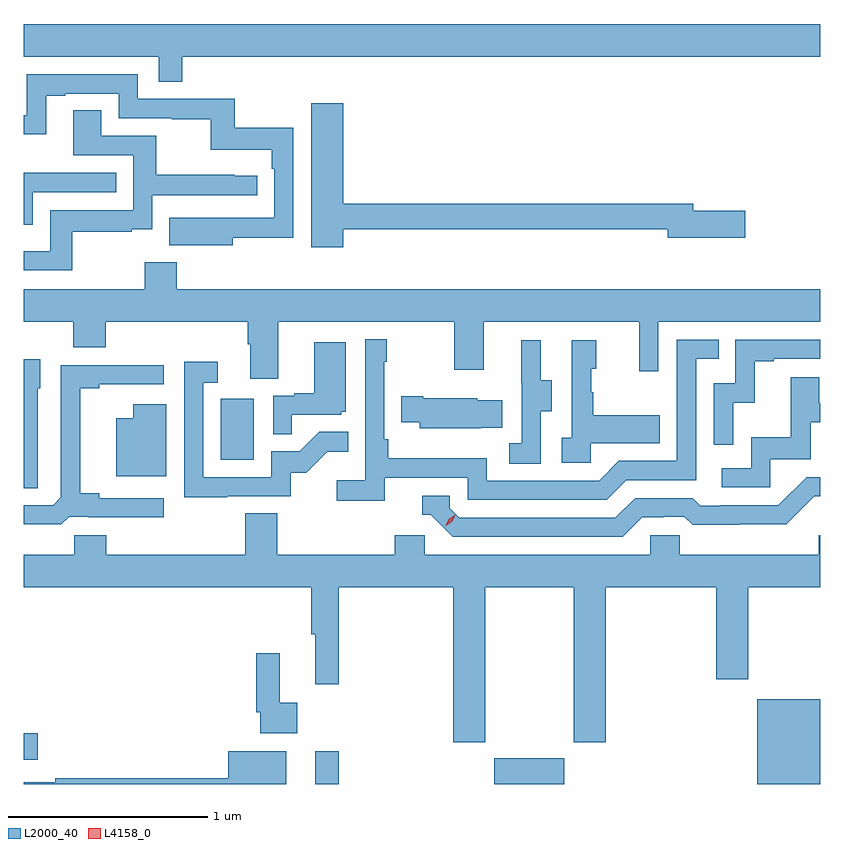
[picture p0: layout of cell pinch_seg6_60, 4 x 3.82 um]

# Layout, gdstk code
import gdstk
lib = gdstk.Library(unit=1e-6, precision=1e-09)
def R(c, l, rs):  # rectangles x0, y0, x1, y1
    for r in rs: c.add(gdstk.rectangle(r[:2], r[2:], *l))
def P(c, l, *ps):  # polygons
    for p in ps: c.add(gdstk.Polygon(p, *l))
L2000_40 = (2000, 40)
L4158_0 = (4158, 0)

pinch_seg6_60 = lib.new_cell('pinch_seg6_60')
R(pinch_seg6_60, L2000_40, [(998.294,937.024,998.411,937.189), (999.194,937.024,999.544,937.153), (1000.514,937.024,1000.83,937.45), (996.83,937.145,996.901,937.28), (997.82,938.652,997.984,938.959)])
P(pinch_seg6_60, L2000_40, [(997.625,940.676),(1000.83,940.676),(1000.83,940.84),(996.83,940.84),(996.83,940.676),(997.509,940.676),(997.509,940.549),(997.625,940.549)],
  [(997.879,939.766),(998.184,939.766),(998.184,940.318),(997.891,940.318),(997.891,940.464),(997.404,940.464),(997.404,940.587),(996.846,940.587),(996.846,940.383),(996.83,940.383),(996.83,940.286),(996.943,940.286),(996.943,940.479),(997.039,940.479),(997.039,940.491),(997.308,940.491),(997.308,940.368),(997.573,940.368),(997.573,940.363),(997.77,940.363),(997.77,940.208),(998.075,940.208),(998.075,940.112),(998.088,940.112),(998.088,939.867),(997.775,939.867),(997.775,939.868),(997.561,939.868),(997.561,939.728),(997.879,939.728)],
  [(998.434,939.81),(1000.064,939.81),(1000.064,939.767),(1000.453,939.767),(1000.453,939.902),(1000.192,939.902),(1000.192,939.938),(998.434,939.938),(998.434,940.441),(998.273,940.441),(998.273,939.72),(998.434,939.72)],
  [(997.075,939.798),(997.373,939.798),(997.373,939.809),(997.476,939.809),(997.476,939.981),(998.002,939.981),(998.002,940.077),(997.889,940.077),(997.889,940.082),(997.496,940.082),(997.496,940.278),(997.219,940.278),(997.219,940.406),(997.079,940.406),(997.079,940.182),(997.38,940.182),(997.38,939.906),(996.964,939.906),(996.964,939.7),(996.83,939.7),(996.83,939.603),(997.075,939.603)],
  [(996.876,939.996),(997.295,939.996),(997.295,940.092),(996.83,940.092),(996.83,939.833),(996.876,939.833)],
  [(998.107,939.344),(998.992,939.344),(998.992,939.105),(999.139,939.105),(999.139,939.344),(999.92,939.344),(999.92,939.096),(1000.017,939.096),(1000.017,939.344),(1000.83,939.344),(1000.83,939.508),(997.598,939.508),(997.598,939.643),(997.438,939.643),(997.438,939.508),(996.83,939.508),(996.83,939.344),(997.079,939.344),(997.079,939.216),(997.243,939.216),(997.243,939.344),(997.955,939.344),(997.955,939.232),(997.967,939.232),(997.967,939.058),(998.107,939.058)],
  [(998.642,938.562),(999.06,938.562),(999.06,938.451),(999.757,938.451),(999.856,938.55),(1000.206,938.55),(1000.206,939.159),(1000.319,939.159),(1000.319,939.255),(1000.11,939.255),(1000.11,938.646),(999.819,938.646),(999.72,938.547),(999.156,938.547),(999.156,938.659),(998.66,938.659),(998.66,938.755),(998.64,938.755),(998.64,939.143),(998.653,939.143),(998.653,939.256),(998.544,939.256),(998.544,938.548),(998.403,938.548),(998.403,938.446),(998.642,938.446)],
  [(1000.392,938.939),(1000.502,938.939),(1000.502,939.147),(1000.597,939.147),(1000.597,939.159),(1000.83,939.159),(1000.83,939.255),(1000.404,939.255),(1000.404,939.036),(1000.296,939.036),(1000.296,938.727),(1000.392,938.727)],
  [(999.678,938.735),(1000.025,938.735),(1000.025,938.875),(999.691,938.875),(999.691,938.99),(999.681,938.99),(999.681,939.108),(999.706,939.108),(999.706,939.253),(999.582,939.253),(999.582,938.762),(999.531,938.762),(999.531,938.637),(999.678,938.637)],
  [(999.426,938.896),(999.481,938.896),(999.481,939.051),(999.427,939.051),(999.427,939.253),(999.329,939.253),(999.329,939.039),(999.33,939.039),(999.33,938.735),(999.267,938.735),(999.267,938.632),(999.426,938.632)],
  [(998.177,938.877),(998.424,938.877),(998.424,938.892),(998.446,938.892),(998.446,939.241),(998.288,939.241),(998.288,938.986),(998.189,938.986),(998.189,938.973),(998.082,938.973),(998.082,938.779),(998.177,938.779)],
  [(996.9,939.012),(996.913,939.012),(996.913,939.157),(996.83,939.157),(996.83,938.509),(996.9,938.509)],
  [(997.853,938.469),(998.172,938.469),(998.172,938.586),(998.248,938.586),(998.355,938.693),(998.459,938.693),(998.459,938.792),(998.315,938.792),(998.217,938.694),(998.073,938.694),(998.073,938.565),(997.731,938.565),(997.731,939.039),(997.804,939.039),(997.804,939.145),(997.635,939.145),(997.635,938.464),(997.853,938.464)],
  [(997.059,938.367),(997.153,938.367),(997.153,938.363),(997.534,938.363),(997.534,938.46),(997.21,938.46),(997.21,938.483),(997.115,938.483),(997.115,939.01),(997.21,939.01),(997.21,939.03),(997.534,939.03),(997.534,939.126),(997.017,939.126),(997.017,938.463),(996.978,938.424),(996.83,938.424),(996.83,938.328),(997.019,938.328)],
  [(1000.578,938.655),(1000.783,938.655),(1000.783,938.841),(1000.83,938.841),(1000.83,938.937),(1000.825,938.937),(1000.825,939.067),(1000.681,939.067),(1000.681,938.764),(1000.482,938.764),(1000.482,938.61),(1000.335,938.61),(1000.335,938.514),(1000.578,938.514)],
  [(999.125,938.813),(999.233,938.813),(999.233,938.95),(999.108,938.95),(999.108,938.962),(998.836,938.962),(998.836,938.97),(998.725,938.97),(998.725,938.84),(998.819,938.84),(998.819,938.81),(999.125,938.81)],
  [(997.546,938.932),(997.379,938.932),(997.379,938.86),(997.295,938.86),(997.295,938.57),(997.546,938.57)],
  [(999.937,938.364),(1000.044,938.364),(1000.044,938.367),(1000.147,938.367),(1000.189,938.325),(1000.422,938.325),(1000.422,938.327),(1000.658,938.327),(1000.8,938.469),(1000.83,938.469),(1000.83,938.565),(1000.761,938.565),(1000.62,938.424),(1000.327,938.424),(1000.327,938.421),(1000.228,938.421),(1000.189,938.46),(999.9,938.46),(999.801,938.361),(999.018,938.361),(998.97,938.409),(998.97,938.472),(998.831,938.472),(998.831,938.376),(998.874,938.376),(998.985,938.265),(999.838,938.265)],
  [(999.147,938.012),(999.592,938.012),(999.592,937.233),(999.752,937.233),(999.752,938.012),(1000.307,938.012),(1000.307,937.551),(1000.467,937.551),(1000.467,938.012),(1000.83,938.012),(1000.83,938.274),(1000.823,938.274),(1000.823,938.176),(1000.125,938.176),(1000.125,938.274),(999.975,938.274),(999.975,938.176),(998.844,938.176),(998.844,938.274),(998.693,938.274),(998.693,938.176),(998.102,938.176),(998.102,938.384),(997.942,938.384),(997.942,938.176),(997.244,938.176),(997.244,938.274),(997.084,938.274),(997.084,938.176),(996.83,938.176),(996.83,938.012),(998.275,938.012),(998.275,937.776),(998.294,937.776),(998.294,937.524),(998.411,937.524),(998.411,938.012),(998.987,938.012),(998.987,937.233),(999.147,937.233)],
  [(998.203,937.433),(998.117,937.433),(998.117,937.681),(997.999,937.681),(997.999,937.384),(998.019,937.384),(998.019,937.28),(998.203,937.28)],
  [(998.149,937.189),(997.856,937.189),(997.856,937.052),(996.988,937.052),(996.988,937.032),(996.83,937.032),(996.83,937.024),(998.149,937.024)])
P(pinch_seg6_60, L4158_0, [(998.949,938.321),(998.949,938.321),(998.965,938.354),(998.995,938.373),(998.996,938.373),(998.996,938.373),(998.98,938.34),(998.95,938.321)])

lib.write_gds('pinch_seg6_60.gds')
